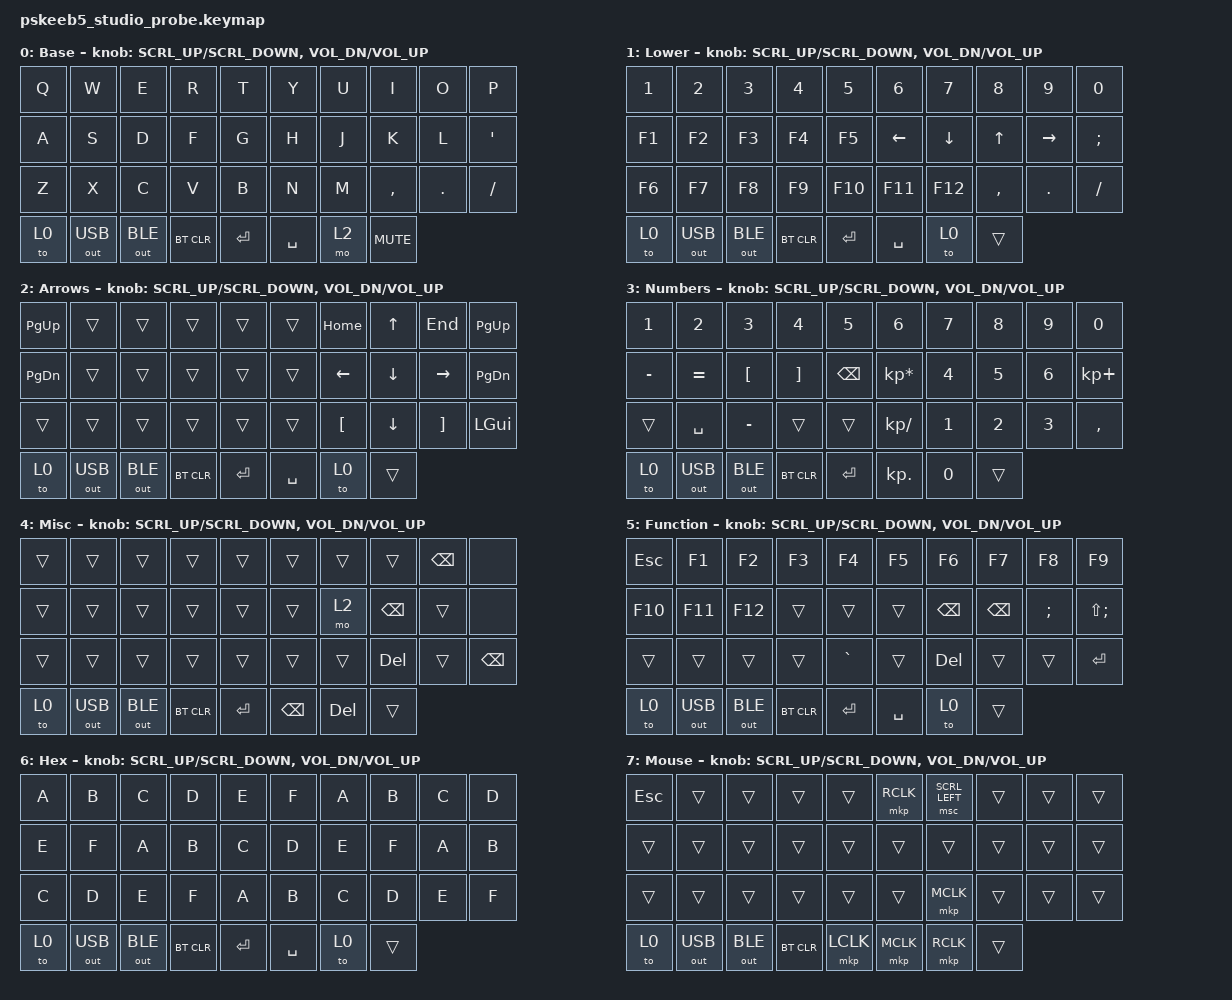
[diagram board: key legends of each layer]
// Diagnostic keymap used only to isolate ZMK Studio connection/parsing issues.
// It intentionally keeps the normal PSKEEB5 layer indices so TrackPoint
// scroll-layer = <3> and layer-toggle = <7> remain valid.

#include <behaviors.dtsi>
#include <dt-bindings/zmk/keys.h>
#include <dt-bindings/zmk/mouse.h>
#include <dt-bindings/zmk/bt.h>
#include <dt-bindings/zmk/outputs.h>

/ {
    behaviors {
        rot_msc: sensor_rotate_scroll {
            compatible = "zmk,behavior-sensor-rotate-var";
            #sensor-binding-cells = <2>;
            bindings = <&msc>, <&msc>;
            tap-ms = <20>;
        };
    };

    keymap {
        compatible = "zmk,keymap";

        base_layer {
            display-name = "Base";
            bindings = <
                &kp Q       &kp W       &kp E       &kp R       &kp T       &kp Y       &kp U       &kp I       &kp O       &kp P
                &kp A       &kp S       &kp D       &kp F       &kp G       &kp H       &kp J       &kp K       &kp L       &kp SQT
                &kp Z       &kp X       &kp C       &kp V       &kp B       &kp N       &kp M       &kp COMMA   &kp DOT     &kp FSLH
                &to 0       &out OUT_USB &out OUT_BLE &bt BT_CLR &kp ENTER   &kp SPACE   &mo 2       &kp C_MUTE
            >;
            sensor-bindings = <&rot_msc SCRL_UP SCRL_DOWN &inc_dec_kp C_VOL_DN C_VOL_UP>;
        };

        lower_layer {
            display-name = "Lower";
            bindings = <
                &kp N1      &kp N2      &kp N3      &kp N4      &kp N5      &kp N6      &kp N7      &kp N8      &kp N9      &kp N0
                &kp F1      &kp F2      &kp F3      &kp F4      &kp F5      &kp LEFT    &kp DOWN    &kp UP      &kp RIGHT   &kp SEMI
                &kp F6      &kp F7      &kp F8      &kp F9      &kp F10     &kp F11     &kp F12     &kp COMMA   &kp DOT     &kp FSLH
                &to 0       &out OUT_USB &out OUT_BLE &bt BT_CLR &kp ENTER   &kp SPACE   &to 0       &trans
            >;
            sensor-bindings = <&rot_msc SCRL_UP SCRL_DOWN &inc_dec_kp C_VOL_DN C_VOL_UP>;
        };

        raise_layer {
            display-name = "Arrows";
            bindings = <
                &kp PG_UP   &trans      &trans      &trans      &trans      &trans      &kp HOME    &kp UP      &kp END     &kp PG_UP
                &kp PG_DN   &trans      &trans      &trans      &trans      &trans      &kp LEFT    &kp DOWN    &kp RIGHT   &kp PG_DN
                &trans      &trans      &trans      &trans      &trans      &trans      &kp LBKT    &kp DOWN    &kp RBKT    &kp LGUI
                &to 0       &out OUT_USB &out OUT_BLE &bt BT_CLR &kp ENTER   &kp SPACE   &to 0       &trans
            >;
            sensor-bindings = <&rot_msc SCRL_UP SCRL_DOWN &inc_dec_kp C_VOL_DN C_VOL_UP>;
        };

        num_layer {
            display-name = "Numbers";
            bindings = <
                &kp N1      &kp N2      &kp N3      &kp N4      &kp N5      &kp N6      &kp N7      &kp N8      &kp N9      &kp N0
                &kp MINUS   &kp EQUAL   &kp LBKT    &kp RBKT    &kp BSPC    &kp KP_MULTIPLY &kp N4   &kp N5      &kp N6      &kp KP_PLUS
                &trans      &kp SPACE   &kp MINUS   &trans      &trans      &kp KP_DIVIDE   &kp N1   &kp N2      &kp N3      &kp COMMA
                &to 0       &out OUT_USB &out OUT_BLE &bt BT_CLR &kp ENTER   &kp KP_DOT      &kp N0   &trans
            >;
            sensor-bindings = <&rot_msc SCRL_UP SCRL_DOWN &inc_dec_kp C_VOL_DN C_VOL_UP>;
        };

        delete_layer {
            display-name = "Misc";
            bindings = <
                &trans      &trans      &trans      &trans      &trans      &trans      &trans      &trans      &kp BSPC    &none
                &trans      &trans      &trans      &trans      &trans      &trans      &mo 2       &kp BSPC    &trans      &none
                &trans      &trans      &trans      &trans      &trans      &trans      &trans      &kp DEL     &trans      &kp BSPC
                &to 0       &out OUT_USB &out OUT_BLE &bt BT_CLR &kp ENTER   &kp BSPC    &kp DEL     &trans
            >;
            sensor-bindings = <&rot_msc SCRL_UP SCRL_DOWN &inc_dec_kp C_VOL_DN C_VOL_UP>;
        };

        function_layer {
            display-name = "Function";
            bindings = <
                &kp ESC     &kp F1      &kp F2      &kp F3      &kp F4      &kp F5      &kp F6      &kp F7      &kp F8      &kp F9
                &kp F10     &kp F11     &kp F12     &trans      &trans      &trans      &kp BSPC    &kp BSPC    &kp SEMI    &kp LS(SEMI)
                &trans      &trans      &trans      &trans      &kp GRAVE   &trans      &kp DEL     &trans      &trans      &kp ENTER
                &to 0       &out OUT_USB &out OUT_BLE &bt BT_CLR &kp ENTER   &kp SPACE   &to 0       &trans
            >;
            sensor-bindings = <&rot_msc SCRL_UP SCRL_DOWN &inc_dec_kp C_VOL_DN C_VOL_UP>;
        };

        hex_layer {
            display-name = "Hex";
            bindings = <
                &kp A       &kp B       &kp C       &kp D       &kp E       &kp F       &kp A       &kp B       &kp C       &kp D
                &kp E       &kp F       &kp A       &kp B       &kp C       &kp D       &kp E       &kp F       &kp A       &kp B
                &kp C       &kp D       &kp E       &kp F       &kp A       &kp B       &kp C       &kp D       &kp E       &kp F
                &to 0       &out OUT_USB &out OUT_BLE &bt BT_CLR &kp ENTER   &kp SPACE   &to 0       &trans
            >;
            sensor-bindings = <&rot_msc SCRL_UP SCRL_DOWN &inc_dec_kp C_VOL_DN C_VOL_UP>;
        };

        mouse_layer {
            display-name = "Mouse";
            bindings = <
                &kp ESC     &trans      &trans      &trans      &trans      &mkp RCLK   &msc SCRL_LEFT &trans    &trans      &trans
                &trans      &trans      &trans      &trans      &trans      &trans      &trans      &trans      &trans      &trans
                &trans      &trans      &trans      &trans      &trans      &trans      &mkp MCLK   &trans      &trans      &trans
                &to 0       &out OUT_USB &out OUT_BLE &bt BT_CLR &mkp LCLK   &mkp MCLK   &mkp RCLK   &trans
            >;
            sensor-bindings = <&rot_msc SCRL_UP SCRL_DOWN &inc_dec_kp C_VOL_DN C_VOL_UP>;
        };
    };
};
